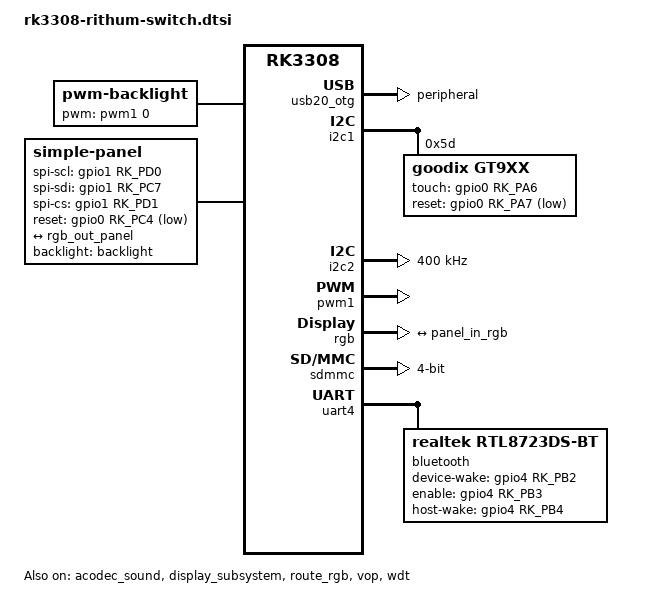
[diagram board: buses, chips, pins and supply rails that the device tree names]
// SPDX-License-Identifier: (GPL-2.0+ OR MIT)
/*
 * Rithum Switch family: common parts for the Rithum Switch (rs) and
 * Rithum Switch Pro (rsp).
 *
 * The hardware is a Rockchip RK3308 Voice Module AMIC Main Board V10
 * with a 480x480 RGB666 panel (ST7701-class controller, initialised
 * over 3-wire 9-bit GPIO bit-bang SPI), a Goodix GT911 touchscreen and
 * a PWM backlight. Derived from the factory 4.4 rk-kernel.dtb
 * extracted from production devices; the factory kernel's custom
 * sensor nodes (aht20@38 on i2c2, wh4530a@38 on i2c1) are deliberately
 * NOT carried over - both sensors are read from userspace via i2c-dev,
 * so their addresses must stay unclaimed.
 */

#include "rk3308-voice-module-amic-mainboard-v10-aarch32.dts"

/ {
	/delete-node/ gpio-keys;

	adc-keys {
		autorepeat;

		/delete-node/ esc-key;
		/delete-node/ home-key;
		/delete-node/ menu-key;
		/delete-node/ vol-down-key;
		/delete-node/ vol-up-key;

		pwr-key {
			label = "Key Power";
			linux,code = <KEY_POWER>;
			press-threshold-microvolt = <18000>;
		};
	};

	backlight: backlight {
		compatible = "pwm-backlight";
		pwms = <&pwm1 0 25000 0>;
		brightness-levels = <
			  0   1   2   3   4   5   6   7
			  8   9  10  11  12  13  14  15
			 16  17  18  19  20  21  22  23
			 24  25  26  27  28  29  30  31
			 32  33  34  35  36  37  38  39
			 40  41  42  43  44  45  46  47
			 48  49  50  51  52  53  54  55
			 56  57  58  59  60  61  62  63
			 64  65  66  67  68  69  70  71
			 72  73  74  75  76  77  78  79
			 80  81  82  83  84  85  86  87
			 88  89  90  91  92  93  94  95
			 96  97  98  99 100 101 102 103
			104 105 106 107 108 109 110 111
			112 113 114 115 116 117 118 119
			120 121 122 123 124 125 126 127
			128 129 130 131 132 133 134 135
			136 137 138 139 140 141 142 143
			144 145 146 147 148 149 150 151
			152 153 154 155 156 157 158 159
			160 161 162 163 164 165 166 167
			168 169 170 171 172 173 174 175
			176 177 178 179 180 181 182 183
			184 185 186 187 188 189 190 191
			192 193 194 195 196 197 198 199
			200 201 202 203 204 205 206 207
			208 209 210 211 212 213 214 215
			216 217 218 219 220 221 222 223
			224 225 226 227 228 229 230 231
			232 233 234 235 236 237 238 239
			240 241 242 243 244 245 246 247
			248 249 250 251 252 253 254 255>;
		default-brightness-level = <255>;
	};

	/*
	 * OP-TEE (BL32, packed into trust.img alongside BL31) is discovered
	 * by the kernel over SMC; the node just tells the optee driver to
	 * probe. Board-scoped rather than in rk3308.dtsi: only this product
	 * ships a trust.img containing BL32.
	 */
	firmware {
		optee: optee {
			compatible = "linaro,optee-tz";
			method = "smc";
		};
	};

	/*
	 * Secure-world DRAM carveout: OP-TEE core (TEE_RAM 2M) is loaded at
	 * 0x200000 (trust.img BL32_OPTION ADDR), followed by TA_RAM 1M and
	 * SHM 1M (RK3308 layout per the Rockchip TEE SDK guide). Without
	 * this, System RAM starts at exactly 0x200000 and the kernel faults
	 * on firewalled secure memory the moment it touches it. no-map: the
	 * optee driver memremaps the static SHM range it learns via
	 * OPTEE_SMC_GET_SHM_CONFIG. Merged into rk3308.dtsi's existing
	 * /reserved-memory (2/2 cells) by node name.
	 */
	reserved-memory {
		optee@200000 {
			reg = <0x0 0x200000 0x0 0x400000>;
			no-map;
		};
	};

	/*
	 * The panel's ST7701-class controller is initialised over a 3-wire
	 * 9-bit SPI command bus bit-banged directly off GPIOs (same pins as
	 * the rk3308-evb-ext reference and the factory 4.4 kernel). Our
	 * panel-simple carries a GPIO bit-bang path (rockchip,cmd-type =
	 * "spi" with spi-scl/sdi/cs-gpios) mirroring u-boot's rockchip_panel
	 * write path, so the panel is a plain root-level node instead of a
	 * child of an SPI controller.
	 */
	panel: panel {
		compatible = "simple-panel";
		pinctrl-names = "default";
		pinctrl-0 = <&spi_init_cmd>;
		spi-scl-gpios = <&gpio1 RK_PD0 GPIO_ACTIVE_HIGH>;
		spi-sdi-gpios = <&gpio1 RK_PC7 GPIO_ACTIVE_HIGH>;
		spi-cs-gpios = <&gpio1 RK_PD1 GPIO_ACTIVE_HIGH>;
		bus-format = <MEDIA_BUS_FMT_RGB666_1X18>;
		backlight = <&backlight>;
		/*
		 * enable-gpios is variant-specific and set in the per-board
		 * .dts (Pro: gpio3 PA7, RS: gpio2 PA1) - do NOT default it here,
		 * or one board silently drives the other's pin and its panel
		 * never enables. The pin also needs muxing to GPIO in the panel
		 * pinctrl-0 (u-boot doesn't mux-on-gpio-request), likewise per
		 * board.
		 */
		enable-delay-ms = <20>;
		reset-gpios = <&gpio0 RK_PC4 GPIO_ACTIVE_LOW>;
		reset-delay-ms = <10>;
		prepare-delay-ms = <20>;
		init-delay-ms = <100>;
		unprepare-delay-ms = <20>;
		disable-delay-ms = <20>;
		width-mm = <72>;
		height-mm = <70>;
		rockchip,cmd-type = "spi";
		status = "okay";

		/*
		 * Byte-exact copy of the factory DTB's init
		 * sequence (type delay num val).
		 */
		panel-init-sequence = [
			00 32 01 11
			00 00 01 ff 01 00 01 77 01 00 01 01
			01 00 01 00 01 00 01 00 01 00 01 10
			00 00 01 c0 01 00 01 3b 01 00 01 00
			00 00 01 c1 01 00 01 0d 01 00 01 02
			00 00 01 c2 01 00 01 31 01 00 01 05
			00 00 01 b0 01 00 01 00 01 00 01 11
			01 00 01 18 01 00 01 0e 01 00 01 11
			01 00 01 06 01 00 01 07 01 00 01 08
			01 00 01 07 01 00 01 22 01 00 01 04
			01 00 01 12 01 00 01 0f 01 00 01 aa
			01 00 01 31 01 00 01 18
			00 00 01 b1 01 00 01 00 01 00 01 11
			01 00 01 19 01 00 01 0e 01 00 01 12
			01 00 01 07 01 00 01 08 01 00 01 08
			01 00 01 08 01 00 01 22 01 00 01 04
			01 00 01 11 01 00 01 11 01 00 01 a9
			01 00 01 32 01 00 01 18
			00 00 01 ff 01 00 01 77 01 00 01 01
			01 00 01 00 01 00 01 00 01 00 01 11
			00 00 01 b0 01 00 01 60
			00 00 01 b1 01 00 01 32
			00 00 01 b2 01 00 01 07
			00 00 01 b3 01 00 01 80
			00 00 01 b5 01 00 01 49
			00 00 01 b7 01 00 01 85
			00 00 01 b8 01 00 01 21
			00 00 01 c1 01 00 01 78
			00 00 01 c2 01 00 01 78
			00 00 01 e0 01 00 01 00 01 00 01 1b
			01 00 01 02
			00 00 01 e1 01 00 01 08 01 00 01 a0
			01 00 01 00 01 00 01 00 01 00 01 07
			01 00 01 a0 01 00 01 00 01 00 01 00
			01 00 01 00 01 00 01 44 01 00 01 44
			00 00 01 e2 01 00 01 11 01 00 01 11
			01 00 01 44 01 00 01 44 01 00 01 ed
			01 00 01 a0 01 00 01 00 01 00 01 00
			01 00 01 ec 01 00 01 a0 01 00 01 00
			01 00 01 00
			00 00 01 e3 01 00 01 00 01 00 01 00
			01 00 01 11 01 00 01 11
			00 00 01 e4 01 00 01 44 01 00 01 44
			00 00 01 e5 01 00 01 0a 01 00 01 e9
			01 00 01 d8 01 00 01 a0 01 00 01 0c
			01 00 01 eb 01 00 01 d8 01 00 01 a0
			01 00 01 0e 01 00 01 ed 01 00 01 d8
			01 00 01 a0 01 00 01 10 01 00 01 ef
			01 00 01 d8 01 00 01 a0
			00 00 01 e6 01 00 01 00 01 00 01 00
			01 00 01 11 01 00 01 11
			00 00 01 e7 01 00 01 44 01 00 01 44
			00 00 01 e8 01 00 01 09 01 00 01 e8
			01 00 01 d8 01 00 01 a0 01 00 01 0b
			01 00 01 ea 01 00 01 d8 01 00 01 a0
			01 00 01 0d 01 00 01 ec 01 00 01 d8
			01 00 01 a0 01 00 01 0f 01 00 01 ee
			01 00 01 d8 01 00 01 a0
			00 00 01 eb 01 00 01 02 01 00 01 00
			01 00 01 e4 01 00 01 e4 01 00 01 88
			01 00 01 00 01 00 01 40
			00 00 01 ec 01 00 01 3c 01 00 01 00
			00 00 01 ed 01 00 01 ab 01 00 01 89
			01 00 01 76 01 00 01 54 01 00 01 02
			01 00 01 ff 01 00 01 ff 01 00 01 ff
			01 00 01 ff 01 00 01 ff 01 00 01 ff
			01 00 01 20 01 00 01 45 01 00 01 67
			01 00 01 98 01 00 01 ba
			00 00 01 36 01 00 01 00
			00 00 01 ff 01 00 01 77 01 00 01 01
			01 00 01 00 01 00 01 00 01 00 01 13
			00 00 01 e5 01 0a 01 e4
			00 00 01 3a 01 00 01 66
			00 0c 01 29
		];

		display-timings {
			native-mode = <&panel_timing>;

			panel_timing: timing0 {
				clock-frequency = <32000000>;
				hactive = <480>;
				vactive = <480>;
				hback-porch = <75>;
				hfront-porch = <75>;
				vback-porch = <15>;
				vfront-porch = <15>;
				hsync-len = <8>;
				vsync-len = <5>;
				hsync-active = <0>;
				vsync-active = <0>;
				de-active = <0>;
				pixelclk-active = <0>;
			};
		};

		port {
			panel_in_rgb: endpoint {
				remote-endpoint = <&rgb_out_panel>;
			};
		};
	};
};

&acodec {
	hp-ctl-gpios = <&gpio0 RK_PA1 GPIO_ACTIVE_HIGH>;
	rockchip,adc-grps-route = <3 2 1 0>;
	rockchip,en-always-grps = <3>;
	rockchip,loopback-grp = <2>;
};

/*
 * Audio topology. This board inherits the rk3308 voice-module (wake-word)
 * sound setup, which leaves the dedicated acodec card disabled and exposes
 * the internal codec only through a VAD card, sitting behind an inherited
 * i2s_2ch_0 + dummy_codec "bluetooth" card at ALSA index 0 - so playback to
 * the default card is silent (it lands on the dummy codec).
 *
 * The Rithum Switch uses neither VAD nor BT-audio-over-I2S (Bluetooth is
 * BLE config/scan only). Enable the clean acodec card (speaker + mic +
 * line-out on i2s_8ch_2 + acodec) and disable both inherited cards, so the
 * acodec enumerates as the sole rockchip sound card at index 0. tinyalsa
 * (tinyplay/tinymix, which always use card 0 and ignore asound.conf), ALSA
 * default-card tools, the app and the factory test then all hit the real
 * codec with no -D override. vad-sound is disabled rather than tweaked
 * because it contends for the same i2s_8ch_2 + acodec that acodec_sound
 * needs; bluetooth-sound because nothing drives i2s_2ch_0.
 */
&acodec_sound {
	status = "okay";
};

&bluetooth_sound {
	status = "disabled";
};

&{/vad-sound} {
	status = "disabled";
};

/*
 * The kernel's SPDIF driver was dropped (no SPDIF output on this board), but
 * the inherited voice-module mainboard leaves spdif_tx + its spdif-tx-sound
 * simple-audio-card enabled, so both fail to probe ("could not get
 * #sound-dai-cells ... probe failed -22"). Disable them to keep the boot
 * log clean.
 */
&spdif_tx_sound {
	status = "disabled";
};

&spdif_tx {
	status = "disabled";
};

&display_subsystem {
	status = "okay";
};

/*
 * Host-port VBUS ramp. vbus_host (inherited: a GPIO regulator-fixed on
 * gpio0 RK_PC5) powers the USB hub and, on the Pro, the RTL8152 ethernet
 * behind it; u2phy_host consumes it as phy-supply. As inherited it has
 * neither a startup delay nor boot-on, so the PHY flips the rail and
 * enumeration proceeds immediately - the hub gets no time to finish its own
 * power-on reset. That matches the intermittent failure seen on Pro units:
 * both EHCI and OHCI fail "device descriptor read" (-71 EPROTO / -62 ETIME)
 * through the USB core's retries, so the RTL8152 never enumerates and eth0
 * never appears, varying with how the timing lands across power cycles.
 *
 * 100ms is the usual hub bPwrOn2PwrGood budget (USB 2.0 spec allows up to
 * 100ms before a hub must be ready). regulator-boot-on says the rail is
 * already on when the kernel starts, so the core doesn't glitch it off and
 * on again during handover from u-boot.
 *
 * NOT the usb2phy "IRQ index 0 not found" line, which is unrelated: it is
 * present on boots that enumerate perfectly, and the per-port linestate
 * interrupt the driver actually needs is wired (no "no linestate irq
 * provided" error). That message costs wakeup plumbing, not enumeration.
 */
/*
 * Split the inherited console-only ramoops so kernel panics are captured too.
 * The voice-module dtsi we inherit sets record-size = <0>, leaving a 128K
 * console-only region: /sys/fs/pstore has only console-ramoops, so a panic or
 * oops leaves nothing behind - the one thing you most want after an
 * unexplained reboot in the field. (It is also what makes the kernel log
 * "pstore: Invalid compression size for deflate: 0" every boot: with no dmesg
 * zone the compression buffer sizes to nothing.)
 *
 * Same region, same size - deliberately no extra reservation, this SoC has
 * little enough RAM - just divided: 64K console, 64K dmesg. The console zone
 * has been running at ~27K for a full boot, so half is still ample, and 64K
 * holds a panic tail with backtrace comfortably.
 */
/*
 * The DW watchdog's TOP (timeout period) table. The IP here is synthesised
 * with programmable TOPs - WDOG_COMP_PARAMS_1's USE_FIX_TOP bit is clear - so
 * the driver looks for this property, does not find it, warns "No valid TOPs
 * array specified" every boot, and falls back to its own fixed table.
 *
 * These are not guessed from a datasheet: they are what the hardware actually
 * loads, measured on a running unit. With TORR index 15 selected,
 * WDOG_CURRENT_COUNT (0xff080008) reads ~0x7AA8458D just after a pet and
 * decrements at ~101.8M/s (pclk_wdt = 100 MHz), i.e. a reload of 0x80000000
 * ticks = 21.47s. That matches 1 << (16 + idx) exactly, and rules out the
 * binding's documented default series (0x1000 << idx), whose maximum TOP is
 * 16x smaller than the value the counter demonstrably holds.
 *
 * Stating them explicitly costs nothing and buys two things: the boot warning
 * goes away, and the mapping stops depending on a kernel-internal fallback
 * table that could change under us. Behaviour is unchanged - `watchdog -F -t
 * 19` still selects index 15, a real 21.47s timeout petted every ~9.5s.
 */
&ramoops {
	record-size = <0x10000>;
	console-size = <0x10000>;

	/*
	 * ECC, because these records are read by people. ramoops lives in DRAM,
	 * which decays when power actually goes away rather than being warm
	 * reset - and what came back from a real power cut was recognisable
	 * fragments of kernel log embedded in bit rot, which invites someone to
	 * chase a phantom. With ECC each record instead ends in either "ECC: No
	 * errors detected" or a count of corrected bytes and unrecoverable
	 * blocks, and a record whose header is too far gone is discarded with
	 * "uncorrectable error in header" instead of being handed over as
	 * garbage.
	 *
	 * 16 bytes of parity per 128-byte block, so ~7.1K of each 64K zone:
	 * usable payload drops to ~57K per zone, still ample for a panic tail
	 * (the console zone had been running at ~27K for a whole boot). No extra
	 * memory is reserved - it comes out of the same region.
	 */
	ecc-size = <16>;
};

&vbus_host {
	regulator-boot-on;
	startup-delay-us = <100000>;
};

/*
 * The dwc2 OTG port is the ADB port (device-mode to a host PC); the
 * RTL8152 ethernet and other USB live on the EHCI/OHCI host controllers.
 * In "otg" mode with no ID/role signal dwc2 defaults to host, so the ADB
 * gadget never enumerates - force peripheral.
 */
&usb20_otg {
	dr_mode = "peripheral";
};

&i2c1 {
	gt9xx: touchscreen@5d {
		compatible = "goodix,gt9xx";
		reg = <0x5d>;
		pinctrl-names = "default";
		pinctrl-0 = <&touch_gpio>;
		touch-gpio = <&gpio0 RK_PA6 IRQ_TYPE_LEVEL_LOW>;
		reset-gpio = <&gpio0 RK_PA7 GPIO_ACTIVE_LOW>;
		max-x = <480>;
		max-y = <480>;
		/*
		 * GT911 with identity axis mapping (the driver requires
		 * tp-size and confusingly reports its absence as "no
		 * max-x defined"). Adjust to 911 if touch turns out
		 * swapped/mirrored against the panel.
		 */
		tp-size = <9110>;
		status = "okay";
	};
};

/* Front LED ring controller: present but unused by the product. */
&is31fl3236 {
	status = "disabled";
};

/* aht20 temperature/humidity sensor bus - read from userspace. */
&i2c2 {
	clock-frequency = <400000>;
	status = "okay";
};

&nandc {
	status = "disabled";
};

&pwm1 {
	status = "okay";
};

&rgb {
	status = "okay";
	pinctrl-names = "default";
	pinctrl-0 = <&lcdc_ctl>;

	ports {
		rgb_out: port@1 {
			reg = <1>;
			#address-cells = <1>;
			#size-cells = <0>;

			rgb_out_panel: endpoint@0 {
				reg = <0>;
				remote-endpoint = <&panel_in_rgb>;
			};
		};
	};
};

&route_rgb {
	status = "okay";
};

/*
 * SD card slot. Board-level pin conflict: the 4-bit data bus shares
 * gpio4-26/27 with the UART2-M1 debug console. uart2 is disabled and the
 * FIQ debugger inherits the preloader's M1 routing (GRF_SOC_CON5=0x194) on
 * those pins, so in 4-bit mode the SD controller claims them at probe and
 * the serial console dies mid-boot (right at the dwmmc probe).
 *
 * PRODUCTION default: full 4-bit bus (sdmmc_bus4) - the sdcard-update
 * feature needs the full data bus, and production has no serial console
 * anyway (display + ssh/adb; a dead UART2 console is an accepted, desired
 * trade rather than a regression). Bench/development builds instead
 * include rk3308-rithum-switch-bench.dtsi (after this file), which
 * overrides this node back to 1-bit mode so the console survives - see
 * that file for the pinctrl detail. Split per-image (RKFW_DEPLOY_ENTRIES
 * gated on IMAGE_MODE, meta-rithum-bsp's rithum-kernel.inc) now that the
 * kernel is the linux-rithum recipe.
 */
&sdmmc {
	bus-width = <4>;
	pinctrl-names = "default";
	pinctrl-0 = <&sdmmc_clk &sdmmc_cmd &sdmmc_det &sdmmc_bus4>;
	status = "okay";
};

&vop {
	status = "okay";
};

&wdt {
	status = "okay";

	snps,watchdog-tops = <
		0x00010000 0x00020000 0x00040000 0x00080000
		0x00100000 0x00200000 0x00400000 0x00800000
		0x01000000 0x02000000 0x04000000 0x08000000
		0x10000000 0x20000000 0x40000000 0x80000000
	>;
};

/*
 * Bluetooth: RTL8723DS over UART4 via the mainline serdev/H5 path - hci_uart
 * + btrtl auto-attach hci0 at boot, replacing the voice-module mainboard's
 * vendor rfkill-bt + userspace rtk_hciattach approach. The mainboard freed
 * RTS to bit-bang it as a GPIO; restore hardware flow control here and
 * disable the bluetooth-platdata node so it doesn't fight the serdev binding
 * over BT_REG_ON (gpio4 PB3). GPIOs match rock-pi-s, the RK3308 RTL8723DS
 * reference (enable PB3, host-wake PB4 identical to our vendor node).
 */
&uart4 {
	pinctrl-names = "default";
	pinctrl-0 = <&uart4_xfer &uart4_cts &uart4_rts>;
	uart-has-rtscts;
	status = "okay";

	bluetooth {
		compatible = "realtek,rtl8723ds-bt";
		device-wake-gpios = <&gpio4 RK_PB2 GPIO_ACTIVE_HIGH>;
		enable-gpios = <&gpio4 RK_PB3 GPIO_ACTIVE_HIGH>;
		host-wake-gpios = <&gpio4 RK_PB4 GPIO_ACTIVE_HIGH>;
	};
};

&{/wireless-bluetooth} {
	status = "disabled";
};

&pinctrl {
	spi-panel {
		spi_init_cmd: spi-init-cmd {
			rockchip,pins =
				<1 RK_PC6 RK_FUNC_GPIO &pcfg_pull_none>,
				<1 RK_PC7 RK_FUNC_GPIO &pcfg_pull_none>,
				<1 RK_PD0 RK_FUNC_GPIO &pcfg_pull_none>,
				<1 RK_PD1 RK_FUNC_GPIO &pcfg_pull_none>;
		};
	};

	touch-screen {
		touch_gpio: touch-gpio {
			rockchip,pins =
				<0 RK_PA6 RK_FUNC_GPIO &pcfg_pull_up_8ma>;
		};
	};
};
